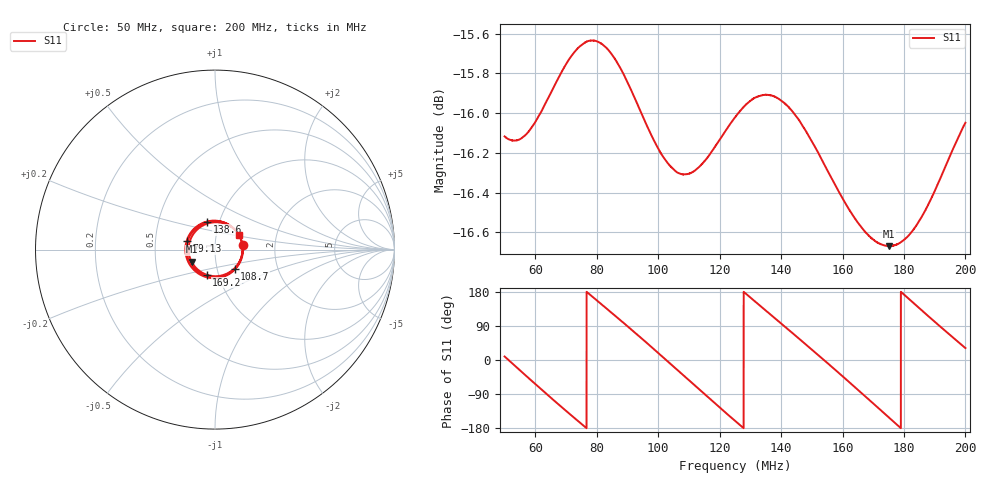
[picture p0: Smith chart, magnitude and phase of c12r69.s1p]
! COPPER MOUNTAIN TECHNOLOGIES, PLANAR TR1300/1, 00071119, 20.2.2/1.0
! Date: 11/21/2023 6:55:32 PM
! Data: Format [Calibration Info]
! Freq  S11: Re/Im F1
# HZ S RI R 50
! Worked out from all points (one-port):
!   12288 points, 50 MHz to 200 MHz, reference 50 ohm
!   lowest |S11| = -16.7 dB at 175.2 MHz (marker M1), VSWR 1.34, Z = 38.2 - j5.25 ohm
!   |S11| at or under -10 dB: start of sweep to end of sweep
!   S11 on the Smith chart (normalised r, x): 50 MHz: 1.36, +0.07; 79.13 MHz: 0.72, +0.07; 108.7 MHz: 1.21, -0.27; 138.6 MHz: 0.88, +0.28; 169.2 MHz: 0.88, -0.25; 200 MHz: 1.29, +0.22
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5e7  0.1543 0.0251
5.496867e7  0.1391 -0.0709
6.048669e7  0.0616 -0.1454
6.457638e7  -0.0174 -0.1591
6.875153e7  -0.0944 -0.1322
7.412306e7  -0.1571 -0.0493
7.912835e7  -0.1583 0.0474
8.750305e7  -0.0457 0.1562
9.260601e7  0.0519 0.151
9.817287e7  0.1328 0.0823
1.062546e8  0.1372 -0.068
1.087206e8  0.1095 -0.1068
1.165826e8  -0.0295 -0.1518
1.250061e8  -0.149 -0.0529
1.313421e8  -0.1457 0.0658
1.386425e8  -0.0433 0.1539
1.437576e8  0.0525 0.1497
1.488118e8  0.1269 0.0915
1.532311e8  0.1537 0.0134
1.576259e8  0.1367 -0.0665
1.625092e8  0.0732 -0.1306
1.691747e8  -0.0473 -0.1397
1.752421e8  -0.1304 -0.0673
1.812607e8  -0.1416 0.0416
1.864247e8  -0.0889 0.1202
1.908074e8  -0.0141 0.1513
1.950558e8  0.064 0.1408
2e8  0.1343 0.0824
